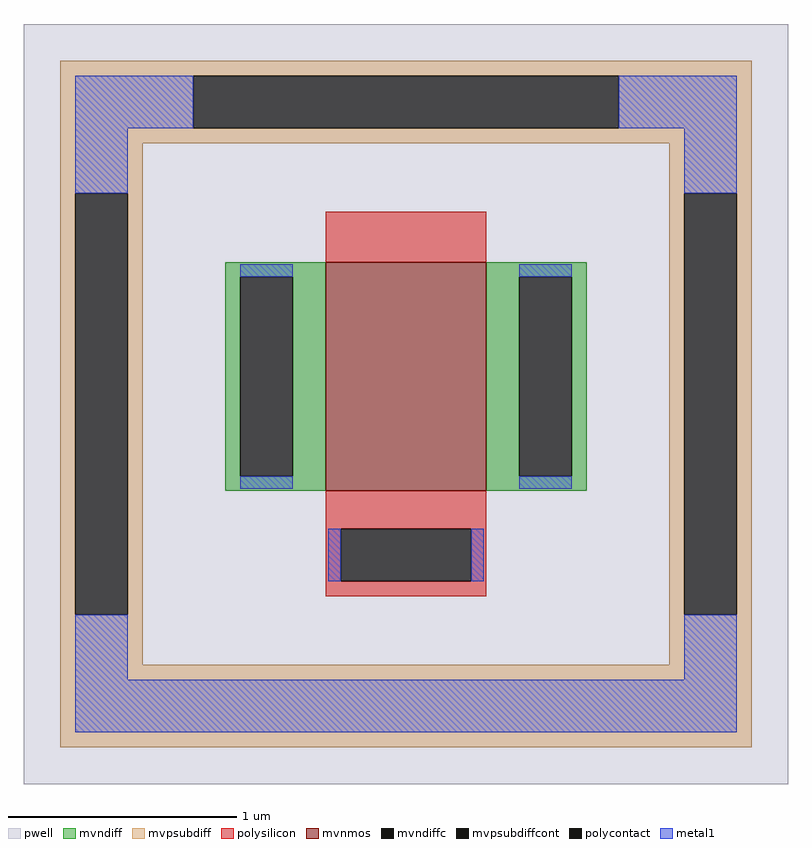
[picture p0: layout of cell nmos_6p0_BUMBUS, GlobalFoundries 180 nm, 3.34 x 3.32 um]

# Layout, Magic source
magic
tech gf180mcuD
magscale 1 10
<< pwell >>
rect -334 -332 334 332
<< mvnmos >>
rect -70 -76 70 124
<< mvndiff >>
rect -158 111 -70 124
rect -158 -63 -145 111
rect -99 -63 -70 111
rect -158 -76 -70 -63
rect 70 111 158 124
rect 70 -63 99 111
rect 145 -63 158 111
rect 70 -76 158 -63
<< mvndiffc >>
rect -145 -63 -99 111
rect 99 -63 145 111
<< mvpsubdiff >>
rect -302 287 302 300
rect -302 241 -186 287
rect 186 241 302 287
rect -302 228 302 241
rect -302 184 -230 228
rect -302 -184 -289 184
rect -243 -184 -230 184
rect 230 184 302 228
rect -302 -228 -230 -184
rect 230 -184 243 184
rect 289 -184 302 184
rect 230 -228 302 -184
rect -302 -300 302 -228
<< mvpsubdiffcont >>
rect -186 241 186 287
rect -289 -184 -243 184
rect 243 -184 289 184
<< polysilicon >>
rect -70 124 70 168
rect -70 -109 70 -76
rect -70 -155 -57 -109
rect 57 -155 70 -109
rect -70 -168 70 -155
<< polycontact >>
rect -57 -155 57 -109
<< metal1 >>
rect -289 241 -186 287
rect 186 241 289 287
rect -289 184 -243 241
rect 243 184 289 241
rect -145 111 -99 122
rect -145 -74 -99 -63
rect 99 111 145 122
rect 99 -74 145 -63
rect -68 -155 -57 -109
rect 57 -155 68 -109
rect -289 -241 -243 -184
rect 243 -241 289 -184
rect -289 -287 289 -241
<< properties >>
string FIXED_BBOX -266 -264 266 264
string gencell nmos_6p0
string library gf180mcu
string parameters w 1.0 l 0.7 m 1 nf 1 diffcov 100 polycov 100 guard 1 glc 1 grc 1 gtc 1 gbc 0 tbcov 100 rlcov 100 topc 0 botc 1 poverlap 0 doverlap 1 lmin 0.6 wmin 0.3 full_metal 1 compatible {nmos_3p3 nmos_6p0 nmos_6p0_nat}
<< end >>
